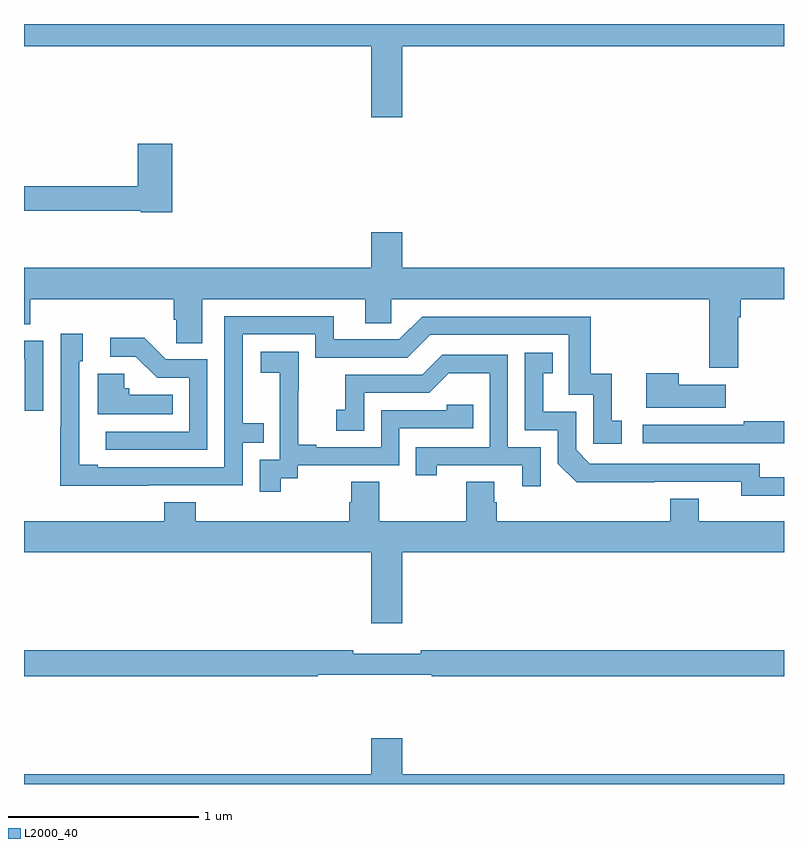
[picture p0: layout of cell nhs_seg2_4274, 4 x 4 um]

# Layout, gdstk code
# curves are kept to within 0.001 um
import gdstk
lib = gdstk.Library(unit=1e-6, precision=1e-09)
def P(c, l, *ps):  # polygons
    for p in ps: c.add(gdstk.Polygon(p, *l))
L2000_40 = (2000, 40)

nhs_seg2_4274 = lib.new_cell('nhs_seg2_4274')
P(nhs_seg2_4274, L2000_40, [(344.992,599.684),(347,599.684),(347,599.8),(343,599.8),(343,599.684),(344.828,599.684),(344.828,599.31),(344.992,599.31)],
  [(343.781,599.17),(343.598,599.17),(343.598,598.946),(343,598.946),(343,598.818),(343.614,598.818),(343.614,598.81),(343.781,598.81)],
  [(346.759,598.256),(346.772,598.256),(346.772,598.352),(347,598.352),(347,598.516),(344.992,598.516),(344.992,598.705),(344.828,598.705),(344.828,598.516),(343,598.516),(343,598.219),(343.034,598.219),(343.034,598.352),(343.787,598.352),(343.787,598.243),(343.8,598.243),(343.8,598.12),(343.939,598.12),(343.939,598.352),(344.795,598.352),(344.795,598.225),(344.934,598.225),(344.934,598.352),(346.607,598.352),(346.607,597.99),(346.759,597.99)],
  [(343.655,597.372),(344.151,597.372),(344.151,597.597),(344.261,597.597),(344.261,597.698),(344.151,597.698),(344.151,598.167),(344.532,598.167),(344.532,598.044),(345.018,598.044),(345.138,598.164),(345.867,598.164),(345.867,597.849),(345.996,597.849),(345.996,597.591),(346.147,597.591),(346.147,597.711),(346.094,597.711),(346.094,597.958),(345.983,597.958),(345.983,598.26),(345.096,598.26),(344.976,598.14),(344.629,598.14),(344.629,598.263),(344.055,598.263),(344.055,597.468),(343.387,597.468),(343.387,597.481),(343.29,597.481),(343.29,598.026),(343.309,598.026),(343.309,598.171),(343.194,598.171),(343.194,597.677),(343.192,597.677),(343.192,597.371)],
  [(343.965,598.035),(343.746,598.035),(343.633,598.148),(343.455,598.148),(343.455,598.05),(343.589,598.05),(343.7,597.939),(343.869,597.939),(343.869,597.654),(343.431,597.654),(343.431,597.558),(343.965,597.558)],
  [(343.101,598.134),(343,598.134),(343,598.038),(343.005,598.038),(343.005,597.765),(343.101,597.765)],
  [(344.35,597.409),(344.442,597.409),(344.442,597.477),(344.976,597.477),(344.976,597.672),(345.365,597.672),(345.365,597.795),(345.225,597.795),(345.225,597.768),(344.88,597.768),(344.88,597.573),(344.539,597.573),(344.539,597.586),(344.444,597.586),(344.444,597.869),(344.445,597.869),(344.445,598.075),(344.247,598.075),(344.247,597.965),(344.345,597.965),(344.345,597.737),(344.346,597.737),(344.346,597.507),(344.241,597.507),(344.241,597.339),(344.35,597.339)],
  [(347,597.414),(346.872,597.414),(346.872,597.486),(345.978,597.486),(345.906,597.558),(345.906,597.759),(345.733,597.759),(345.733,597.963),(345.782,597.963),(345.782,598.069),(345.636,598.069),(345.636,597.663),(345.81,597.663),(345.81,597.486),(345.908,597.389),(346.776,597.39),(346.776,597.317),(347,597.317)],
  [(345.72,597.573),(345.546,597.573),(345.546,598.059),(345.2,598.059),(345.095,597.954),(344.692,597.954),(344.692,597.769),(344.643,597.769),(344.643,597.66),(344.79,597.66),(344.79,597.858),(345.132,597.858),(345.236,597.962),(345.45,597.962),(345.45,597.573),(345.061,597.573),(345.061,597.426),(345.172,597.426),(345.172,597.477),(345.623,597.477),(345.623,597.366),(345.72,597.366)],
  [(346.693,597.901),(346.445,597.901),(346.445,597.961),(346.274,597.961),(346.274,597.779),(346.693,597.779)],
  [(343.784,597.85),(343.554,597.85),(343.554,597.882),(343.527,597.882),(343.527,597.958),(343.388,597.958),(343.388,597.746),(343.784,597.746)],
  [(347,597.71),(346.789,597.71),(346.789,597.69),(346.257,597.69),(346.257,597.594),(347,597.594)],
  [(344.992,597.02),(347,597.02),(347,597.184),(346.552,597.184),(346.552,597.301),(346.4,597.301),(346.4,597.184),(345.488,597.184),(345.488,597.282),(345.475,597.282),(345.475,597.392),(345.328,597.392),(345.328,597.184),(344.871,597.184),(344.871,597.392),(344.723,597.392),(344.723,597.282),(344.711,597.282),(344.711,597.184),(343.904,597.184),(343.904,597.283),(343.739,597.283),(343.739,597.184),(343,597.184),(343,597.02),(344.828,597.02),(344.828,596.646),(344.992,596.646)],
  [(344.545,596.376),(345.145,596.376),(345.145,596.368),(347,596.368),(347,596.504),(345.088,596.504),(345.088,596.485),(344.732,596.485),(344.732,596.504),(343,596.504),(343,596.368),(344.545,596.368)],
  [(347,595.852),(344.992,595.852),(344.992,596.041),(344.828,596.041),(344.828,595.852),(343,595.852),(343,595.8),(347,595.8)])

lib.write_gds('nhs_seg2_4274.gds')
